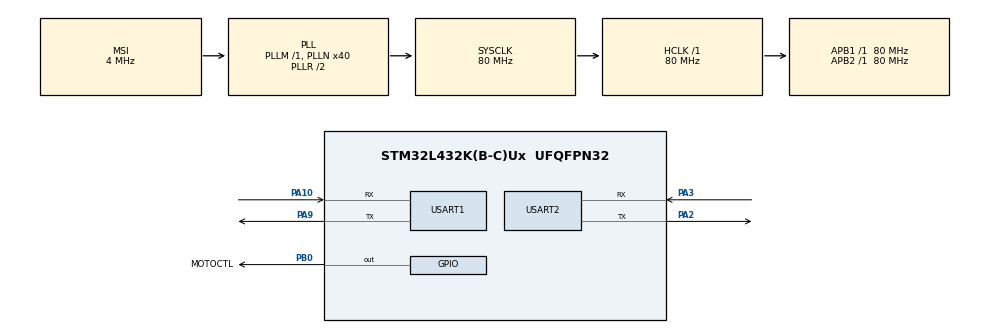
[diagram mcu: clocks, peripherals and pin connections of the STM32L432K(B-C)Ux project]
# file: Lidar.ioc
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Dma.Request0=USART1_RX
Dma.USART1_RX.0.Direction=DMA_PERIPH_TO_MEMORY
Dma.USART1_RX.0.Instance=DMA1_Channel5
Dma.USART1_RX.0.MemDataAlignment=DMA_MDATAALIGN_BYTE
Dma.USART1_RX.0.MemInc=DMA_MINC_ENABLE
Dma.USART1_RX.0.Mode=DMA_CIRCULAR
Dma.USART1_RX.0.PeriphDataAlignment=DMA_PDATAALIGN_BYTE
Dma.USART1_RX.0.PeriphInc=DMA_PINC_DISABLE
Dma.USART1_RX.0.Priority=DMA_PRIORITY_LOW
Mcu.Family=STM32L4
Mcu.Name=STM32L432K(B-C)Ux
Mcu.Package=UFQFPN32
NVIC.DMA1_Channel5_IRQn=true\:0\:0\:false\:false\:true\:false\:true\:true
NVIC.PriorityGroup=NVIC_PRIORITYGROUP_4
NVIC.USART1_IRQn=true\:0\:0\:false\:false\:true\:true\:true\:true
PA10.Mode=Asynchronous
PA10.Signal=USART1_RX
PA2.Mode=Asynchronous
PA2.Signal=USART2_TX
PA3.Mode=Asynchronous
PA3.Signal=USART2_RX
PA9.Mode=Asynchronous
PA9.Signal=USART1_TX
PB0.GPIO_Label=MOTOCTL
PB0.PinState=GPIO_PIN_SET
PB0.Signal=GPIO_Output
ProjectManager.HeapSize=0x200
ProjectManager.StackSize=0x400
ProjectManager.TargetToolchain=STM32CubeIDE
RCC.AHBFreq_Value=80000000
RCC.APB1Freq_Value=80000000
RCC.APB1TimFreq_Value=80000000
RCC.APB2Freq_Value=80000000
RCC.APB2TimFreq_Value=80000000
RCC.CortexFreq_Value=80000000
RCC.HCLKFreq_Value=80000000
RCC.HSE_VALUE=8000000
RCC.HSI16_VALUE=16000000
RCC.HSI48_VALUE=48000000
RCC.HSI_VALUE=16000000
RCC.MSI_VALUE=4000000
RCC.PLLMUL=RCC_PLLMUL_4
RCC.PLLN=40
RCC.SYSCLKFreq_VALUE=80000000
RCC.SYSCLKSource=RCC_SYSCLKSOURCE_PLLCLK
RCC.VCOOutputFreq_Value=160000000
USART1.VirtualMode-Asynchronous=VM_ASYNC
USART2.VirtualMode-Asynchronous=VM_ASYNC
board=NUCLEO-L432KC

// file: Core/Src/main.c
/* USER CODE BEGIN Header */
/**
  ******************************************************************************
  * @file           : main.c
  * @brief          : Main program body
  ******************************************************************************
  * @attention
  *
  * Copyright (c) 2026 STMicroelectronics.
  * All rights reserved.
  *
  * This software is licensed under terms that can be found in the LICENSE file
  * in the root directory of this software component.
  * If no LICENSE file comes with this software, it is provided AS-IS.
  *
  ******************************************************************************
  */
/* USER CODE END Header */
#include "main.h"

/* USER CODE BEGIN Includes */
#include <stdio.h>
#include "rplidar.h"
/* USER CODE END Includes */

UART_HandleTypeDef huart1;
UART_HandleTypeDef huart2;
DMA_HandleTypeDef hdma_usart1_rx;

void SystemClock_Config(void);
static void MX_GPIO_Init(void);
static void MX_DMA_Init(void);
static void MX_USART1_UART_Init(void);
static void MX_USART2_UART_Init(void);

/* USER CODE BEGIN 0 */
#include <stdio.h>

int __io_putchar(int ch) {
    HAL_UART_Transmit(&huart2, (uint8_t*)&ch, 1, 10);
    return ch;
}

// 1-byte DMA receive buffer
uint8_t rx_byte;

/* USER CODE END 0 */

int main(void)
{

  /* MCU Configuration--------------------------------------------------------*/

  /* Reset of all peripherals, Initializes the Flash interface and the Systick. */
  HAL_Init();

  /* Configure the system clock */
  SystemClock_Config();

  /* Initialize all configured peripherals */
  MX_GPIO_Init();
  MX_DMA_Init();
  MX_USART1_UART_Init();
  MX_USART2_UART_Init();
  /* USER CODE BEGIN 2 */
  printf("System started. Testing USART2...\r\n");
  printf("Clock: 80MHz | LiDAR UART: 115200 8N1\r\n");

  printf("=== RPLiDAR A1M8 Driver ===\r\n");

  // Init driver: pass huart1, PB0 port, PB0 pin
  rplidar_init(&huart1, MOTOCTL_GPIO_Port, MOTOCTL_Pin);

  uint8_t reset_cmd[2] = {0xA5, 0x40};
  HAL_UART_Transmit(&huart1, reset_cmd, 2, 100);
  HAL_Delay(500);  // wait for LiDAR to reboot

  // Flush any garbage bytes sitting in the UART buffer
  // by reading and discarding whatever is there
  uint8_t flush;
  while (HAL_UART_Receive(&huart1, &flush, 1, 10) == HAL_OK) {}

  // Check health before scanning
  uint8_t health = rplidar_get_health();
  printf("LiDAR health: %d (0=good)\r\n", health);

  if (health == RPLIDAR_HEALTH_GOOD) {
      rplidar_start_scan();
      printf("Scan started!\r\n");
      // Start receiving 1 byte at a time via DMA
      HAL_UART_Receive_DMA(&huart1, &rx_byte, 1);
  } else {
      printf("LiDAR error! Check wiring.\r\n");
  }

  /* USER CODE END 2 */

  /* Infinite loop */
  while (1)
  {

    /* USER CODE BEGIN 3 */
	  // Main loop — check if a full scan is ready
	  if (rplidar_scan_ready) {
	      __disable_irq();
	      uint16_t n = rplidar_scan_count;   // latch once
	      rplidar_scan_ready = 0;
	      __enable_irq();

	      printf("Scan complete: %u points\r\n", n);

	      uint16_t to_print = (n < 5) ? n : 5;
	      for (uint16_t i = 0; i < to_print; i++) {
	          printf("  [%u] angle=%.1f deg  dist=%.1f mm  quality=%u\r\n",
	                 i,
	                 rplidar_scan[i].angle_deg,
	                 rplidar_scan[i].distance_mm,
	                 rplidar_scan[i].quality);
	      }
	  }
  }
  /* USER CODE END 3 */
}

void SystemClock_Config(void)
{
  RCC_OscInitTypeDef RCC_OscInitStruct = {0};
  RCC_ClkInitTypeDef RCC_ClkInitStruct = {0};

  /** Configure the main internal regulator output voltage
  */
  if (HAL_PWREx_ControlVoltageScaling(PWR_REGULATOR_VOLTAGE_SCALE1) != HAL_OK)
  {
    Error_Handler();
  }

  /** Initializes the RCC Oscillators according to the specified parameters
  * in the RCC_OscInitTypeDef structure.
  */
  RCC_OscInitStruct.OscillatorType = RCC_OSCILLATORTYPE_MSI;
  RCC_OscInitStruct.MSIState = RCC_MSI_ON;
  RCC_OscInitStruct.MSICalibrationValue = 0;
  RCC_OscInitStruct.MSIClockRange = RCC_MSIRANGE_6;
  RCC_OscInitStruct.PLL.PLLState = RCC_PLL_ON;
  RCC_OscInitStruct.PLL.PLLSource = RCC_PLLSOURCE_MSI;
  RCC_OscInitStruct.PLL.PLLM = 1;
  RCC_OscInitStruct.PLL.PLLN = 40;
  RCC_OscInitStruct.PLL.PLLP = RCC_PLLP_DIV7;
  RCC_OscInitStruct.PLL.PLLQ = RCC_PLLQ_DIV2;
  RCC_OscInitStruct.PLL.PLLR = RCC_PLLR_DIV2;
  if (HAL_RCC_OscConfig(&RCC_OscInitStruct) != HAL_OK)
  {
    Error_Handler();
  }

  /** Initializes the CPU, AHB and APB buses clocks
  */
  RCC_ClkInitStruct.ClockType = RCC_CLOCKTYPE_HCLK|RCC_CLOCKTYPE_SYSCLK
                              |RCC_CLOCKTYPE_PCLK1|RCC_CLOCKTYPE_PCLK2;
  RCC_ClkInitStruct.SYSCLKSource = RCC_SYSCLKSOURCE_PLLCLK;
  RCC_ClkInitStruct.AHBCLKDivider = RCC_SYSCLK_DIV1;
  RCC_ClkInitStruct.APB1CLKDivider = RCC_HCLK_DIV1;
  RCC_ClkInitStruct.APB2CLKDivider = RCC_HCLK_DIV1;

  if (HAL_RCC_ClockConfig(&RCC_ClkInitStruct, FLASH_LATENCY_4) != HAL_OK)
  {
    Error_Handler();
  }
}

static void MX_USART1_UART_Init(void)
{

  huart1.Instance = USART1;
  huart1.Init.BaudRate = 115200;
  huart1.Init.WordLength = UART_WORDLENGTH_8B;
  huart1.Init.StopBits = UART_STOPBITS_1;
  huart1.Init.Parity = UART_PARITY_NONE;
  huart1.Init.Mode = UART_MODE_TX_RX;
  huart1.Init.HwFlowCtl = UART_HWCONTROL_NONE;
  huart1.Init.OverSampling = UART_OVERSAMPLING_16;
  huart1.Init.OneBitSampling = UART_ONE_BIT_SAMPLE_DISABLE;
  huart1.AdvancedInit.AdvFeatureInit = UART_ADVFEATURE_NO_INIT;
  if (HAL_UART_Init(&huart1) != HAL_OK)
  {
    Error_Handler();
  }

}

static void MX_USART2_UART_Init(void)
{

  huart2.Instance = USART2;
  huart2.Init.BaudRate = 115200;
  huart2.Init.WordLength = UART_WORDLENGTH_8B;
  huart2.Init.StopBits = UART_STOPBITS_1;
  huart2.Init.Parity = UART_PARITY_NONE;
  huart2.Init.Mode = UART_MODE_TX_RX;
  huart2.Init.HwFlowCtl = UART_HWCONTROL_NONE;
  huart2.Init.OverSampling = UART_OVERSAMPLING_16;
  huart2.Init.OneBitSampling = UART_ONE_BIT_SAMPLE_DISABLE;
  huart2.AdvancedInit.AdvFeatureInit = UART_ADVFEATURE_NO_INIT;
  if (HAL_UART_Init(&huart2) != HAL_OK)
  {
    Error_Handler();
  }

}

static void MX_DMA_Init(void)
{

  /* DMA controller clock enable */
  __HAL_RCC_DMA1_CLK_ENABLE();

  /* DMA interrupt init */
  /* DMA1_Channel5_IRQn interrupt configuration */
  HAL_NVIC_SetPriority(DMA1_Channel5_IRQn, 0, 0);
  HAL_NVIC_EnableIRQ(DMA1_Channel5_IRQn);

}

static void MX_GPIO_Init(void)
{
  GPIO_InitTypeDef GPIO_InitStruct = {0};

  /* GPIO Ports Clock Enable */
  __HAL_RCC_GPIOA_CLK_ENABLE();
  __HAL_RCC_GPIOB_CLK_ENABLE();

  /*Configure GPIO pin Output Level */
  HAL_GPIO_WritePin(MOTOCTL_GPIO_Port, MOTOCTL_Pin, GPIO_PIN_SET);

  /*Configure GPIO pin : MOTOCTL_Pin */
  GPIO_InitStruct.Pin = MOTOCTL_Pin;
  GPIO_InitStruct.Mode = GPIO_MODE_OUTPUT_PP;
  GPIO_InitStruct.Pull = GPIO_NOPULL;
  GPIO_InitStruct.Speed = GPIO_SPEED_FREQ_LOW;
  HAL_GPIO_Init(MOTOCTL_GPIO_Port, &GPIO_InitStruct);

}

/* USER CODE BEGIN 4 */
void HAL_UART_RxCpltCallback(UART_HandleTypeDef *huart) {
	if (huart->Instance == USART1) {
		rplidar_feed_byte(rx_byte);
		HAL_UART_Receive_DMA(&huart1, &rx_byte, 1);
	}
}

/* USER CODE END 4 */

void Error_Handler(void)
{
  __disable_irq();
  while (1)
  {
  }
}
